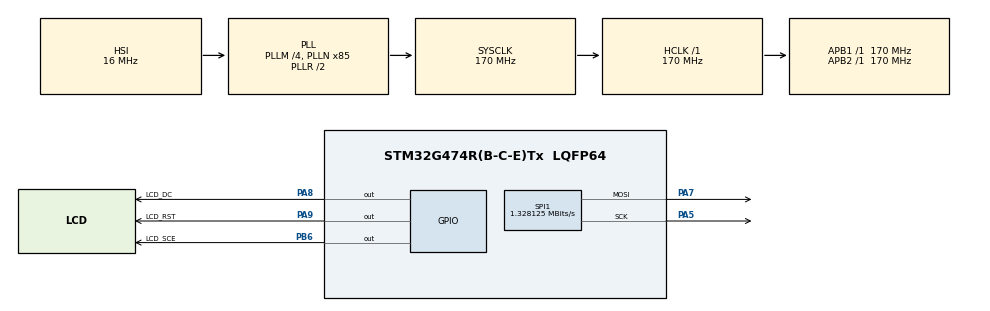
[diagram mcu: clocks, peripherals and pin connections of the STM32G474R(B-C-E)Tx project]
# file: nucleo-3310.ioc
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Mcu.Family=STM32G4
Mcu.Name=STM32G474R(B-C-E)Tx
Mcu.Package=LQFP64
NUCLEO-G474RE.BUTTON=1
NUCLEO-G474RE.LD2=false
NUCLEO-G474RE.VCP=true
NVIC.EXTI15_10_IRQn=true\:0\:0\:false\:false\:true\:false\:true\:true
NVIC.PriorityGroup=NVIC_PRIORITYGROUP_4
PA13.GPIO_Label=T_SWDIO
PA13.Mode=Serial_Wire
PA13.Signal=SYS_JTMS-SWDIO
PA14.GPIO_Label=T_SWCLK
PA14.Mode=Serial_Wire
PA14.Signal=SYS_JTCK-SWCLK
PA2.Signal=LPUART1_TX
PA3.Signal=LPUART1_RX
PA5.Mode=TX_Only_Simplex_Unidirect_Master
PA5.Signal=SPI1_SCK
PA7.Mode=TX_Only_Simplex_Unidirect_Master
PA7.Signal=SPI1_MOSI
PA8.GPIO_Label=LCD_DC
PA8.Signal=GPIO_Output
PA9.GPIO_Label=LCD_RST
PA9.Signal=GPIO_Output
PB3.GPIO_Label=T_SWO
PB3.Signal=SYS_JTDO-SWO
PB6.GPIO_Label=LCD_SCE
PB6.PinState=GPIO_PIN_SET
PB6.Signal=GPIO_Output
PC14-OSC32_IN.GPIO_Label=RCC_OSC32_IN
PC14-OSC32_IN.Signal=RCC_OSC32_IN
PC15-OSC32_OUT.GPIO_Label=RCC_OSC32_OUT
PC15-OSC32_OUT.Signal=RCC_OSC32_OUT
PF0-OSC_IN.GPIO_Label=RCC_OSC_IN
PF0-OSC_IN.Signal=RCC_OSC_IN
PF1-OSC_OUT.GPIO_Label=RCC_OSC_OUT
PF1-OSC_OUT.Signal=RCC_OSC_OUT
ProjectManager.HeapSize=0x200
ProjectManager.StackSize=0x400
ProjectManager.TargetToolchain=CMake
RCC.ADC12Freq_Value=170000000
RCC.ADC345Freq_Value=170000000
RCC.AHBFreq_Value=170000000
RCC.APB1Freq_Value=170000000
RCC.APB1TimFreq_Value=170000000
RCC.APB2Freq_Value=170000000
RCC.APB2TimFreq_Value=170000000
RCC.CortexFreq_Value=170000000
RCC.EXTERNAL_CLOCK_VALUE=12288000
RCC.HCLKFreq_Value=170000000
RCC.HSE_VALUE=24000000
RCC.HSI48_VALUE=48000000
RCC.HSI_VALUE=16000000
RCC.LSE_VALUE=32768
RCC.PLLM=RCC_PLLM_DIV4
RCC.PLLN=85
RCC.RTCClockSelection=RCC_RTCCLKSOURCE_LSE
RCC.SYSCLKFreq_VALUE=170000000
RCC.SYSCLKSource=RCC_SYSCLKSOURCE_PLLCLK
RCC.USBFreq_Value=170000000
RCC.VCOOutputFreq_Value=340000000
SPI1.BaudRatePrescaler=SPI_BAUDRATEPRESCALER_128
SPI1.CalculateBaudRate=1.328125 MBits/s
SPI1.DataSize=SPI_DATASIZE_8BIT
SPI1.Direction=SPI_DIRECTION_2LINES
SPI1.Mode=SPI_MODE_MASTER
SPI1.NSSPMode=SPI_NSS_PULSE_DISABLE
SPI1.VirtualType=VM_MASTER
VP_NUCLEO-G474RE_VS_BSP_COMMON.Mode=COMMON
VP_SYS_VS_DBSignals.Mode=DisableDeadBatterySignals
board=NUCLEO-G474RE

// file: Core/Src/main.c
/* USER CODE BEGIN Header */
/**
  ******************************************************************************
  * @file           : main.c
  * @brief          : Main program body
  ******************************************************************************
  * @attention
  *
  * Copyright (c) 2026 STMicroelectronics.
  * All rights reserved.
  *
  * This software is licensed under terms that can be found in the LICENSE file
  * in the root directory of this software component.
  * If no LICENSE file comes with this software, it is provided AS-IS.
  *
  ******************************************************************************
  */
/* USER CODE END Header */
#include "main.h"
#include "spi.h"
#include "gpio.h"
#include "stm32g4xx_hal.h"

/* USER CODE BEGIN Includes */
#include "Drivers/STM32/transmission_controller.h"
#include "Drivers/STM32/telemetry_transport.h"
#include "stm32g4xx_nucleo.h"
#include "App/input_state.h"

#include "Drivers/PCD8544/pcd8544.h"
#include "Drivers/PCD8544/pcd8544_transport.h"

#include "Modules/engine3d/display.h"
#include "Drivers/PCD8544/display_pcd8544.h"

#include "App/app.h"
/* USER CODE END Includes */

COM_InitTypeDef BspCOMInit;

void SystemClock_Config(void);

int main(void)
{

  /* MCU Configuration--------------------------------------------------------*/

  /* Reset of all peripherals, Initializes the Flash interface and the Systick. */
  HAL_Init();

  /* Configure the system clock */
  SystemClock_Config();

  /* Initialize all configured peripherals */
  MX_GPIO_Init();
  MX_SPI1_Init();

  /* Initialize USER push-button, will be used to trigger an interrupt each time it's pressed.*/
  BSP_PB_Init(BUTTON_USER, BUTTON_MODE_EXTI);

  /* Initialize COM1 port (115200, 8 bits (7-bit data + 1 stop bit), no parity */
  BspCOMInit.BaudRate   = 115200;
  BspCOMInit.WordLength = COM_WORDLENGTH_8B;
  BspCOMInit.StopBits   = COM_STOPBITS_1;
  BspCOMInit.Parity     = COM_PARITY_NONE;
  BspCOMInit.HwFlowCtl  = COM_HWCONTROL_NONE;
  if (BSP_COM_Init(COM1, &BspCOMInit) != BSP_ERROR_NONE)
  {
    Error_Handler();
  }

  /* Infinite loop */
  /* USER CODE BEGIN WHILE */
  input_state_init();

  if (!telemetry_transport_init(&hcom_uart[COM1]))
  {
      Error_Handler();
  }

  if (!transmission_controller_start())
  {
      Error_Handler();
  }

  static app_t app;

  if (!app_init(&app))
  {
      Error_Handler();
  }

  uint32_t last_tick_ms = HAL_GetTick();

  while (1)
  {
    if (transmission_controller_has_fault())
    {
        Error_Handler();
    }

    uint32_t now_ms = HAL_GetTick();

    uint32_t elapsed_ms = now_ms - last_tick_ms;

    last_tick_ms = now_ms;

    float dt_seconds = (float)elapsed_ms / 1000.0f;

    input_snapshot_t input;

    input_state_consume(now_ms, &input);

    if (!app_run(&app, dt_seconds, &input))
    {
        Error_Handler();
    }
    /* USER CODE END WHILE */

  }
}

void SystemClock_Config(void)
{
  RCC_OscInitTypeDef RCC_OscInitStruct = {0};
  RCC_ClkInitTypeDef RCC_ClkInitStruct = {0};

  /** Configure the main internal regulator output voltage
  */
  HAL_PWREx_ControlVoltageScaling(PWR_REGULATOR_VOLTAGE_SCALE1_BOOST);

  /** Initializes the RCC Oscillators according to the specified parameters
  * in the RCC_OscInitTypeDef structure.
  */
  RCC_OscInitStruct.OscillatorType = RCC_OSCILLATORTYPE_HSI;
  RCC_OscInitStruct.HSIState = RCC_HSI_ON;
  RCC_OscInitStruct.HSICalibrationValue = RCC_HSICALIBRATION_DEFAULT;
  RCC_OscInitStruct.PLL.PLLState = RCC_PLL_ON;
  RCC_OscInitStruct.PLL.PLLSource = RCC_PLLSOURCE_HSI;
  RCC_OscInitStruct.PLL.PLLM = RCC_PLLM_DIV4;
  RCC_OscInitStruct.PLL.PLLN = 85;
  RCC_OscInitStruct.PLL.PLLP = RCC_PLLP_DIV2;
  RCC_OscInitStruct.PLL.PLLQ = RCC_PLLQ_DIV2;
  RCC_OscInitStruct.PLL.PLLR = RCC_PLLR_DIV2;
  if (HAL_RCC_OscConfig(&RCC_OscInitStruct) != HAL_OK)
  {
    Error_Handler();
  }

  /** Initializes the CPU, AHB and APB buses clocks
  */
  RCC_ClkInitStruct.ClockType = RCC_CLOCKTYPE_HCLK|RCC_CLOCKTYPE_SYSCLK
                              |RCC_CLOCKTYPE_PCLK1|RCC_CLOCKTYPE_PCLK2;
  RCC_ClkInitStruct.SYSCLKSource = RCC_SYSCLKSOURCE_PLLCLK;
  RCC_ClkInitStruct.AHBCLKDivider = RCC_SYSCLK_DIV1;
  RCC_ClkInitStruct.APB1CLKDivider = RCC_HCLK_DIV1;
  RCC_ClkInitStruct.APB2CLKDivider = RCC_HCLK_DIV1;

  if (HAL_RCC_ClockConfig(&RCC_ClkInitStruct, FLASH_LATENCY_4) != HAL_OK)
  {
    Error_Handler();
  }
}

void Error_Handler(void)
{
  __disable_irq();
  while (1)
  {
  }
}
